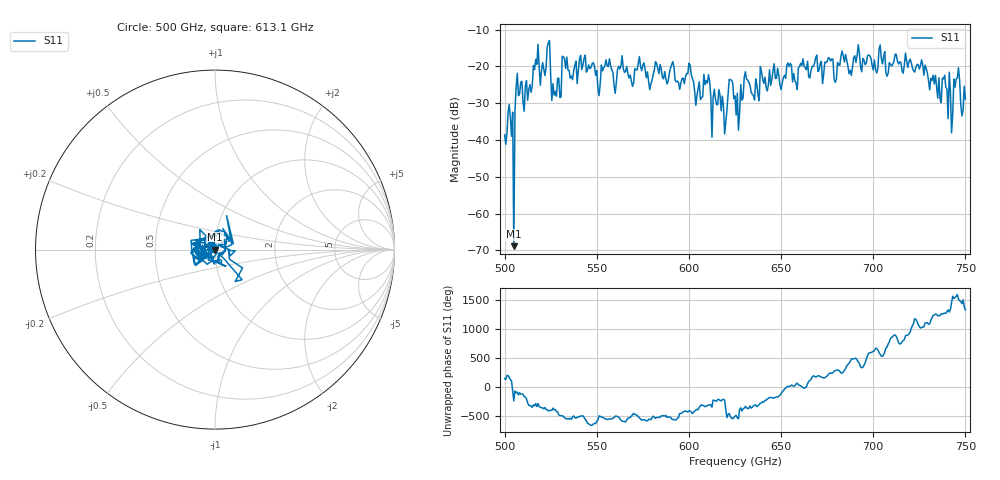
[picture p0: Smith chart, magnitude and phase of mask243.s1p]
!Created with skrf (http://scikit-rf.org).
# GHz S MA R 50.0
!freq magS11 angS11
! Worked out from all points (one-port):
!   401 points, 500 GHz to 750 GHz, reference 50 ohm
!   lowest |S11| = -68.9 dB at 505 GHz (marker M1), VSWR 1.00, Z = 50 + j0.032 ohm
!   |S11| at or under -10 dB: start of sweep to end of sweep
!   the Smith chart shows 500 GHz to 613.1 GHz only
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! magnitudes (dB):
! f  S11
! 500 GHz  -38.6
! 503.1 GHz  -33.9
! 503.8 GHz  -39.0
! 505 GHz  -68.9
! 507.5 GHz  -27.9
! 513.8 GHz  -24.9
! 516.9 GHz  -18.1
! 520.6 GHz  -18.9
! 523.8 GHz  -13.5
! 526.9 GHz  -27.8
! 531.2 GHz  -17.2
! 560 GHz  -27.3
! 562.5 GHz  -20.6
! 593.8 GHz  -23.9
! 609.4 GHz  -23.9
! 618.8 GHz  -30.8
! 622.5 GHz  -23.7
! 625 GHz  -28.0
! 656.2 GHz  -24.2
! 680 GHz  -23.5
! 683.8 GHz  -17.2
! 687.5 GHz  -21.0
! 691.2 GHz  -17.1
! 718.8 GHz  -20.3
! 738.8 GHz  -22.4
! 741.9 GHz  -26.7
! 745 GHz  -23.4
! 750 GHz  -28.8
